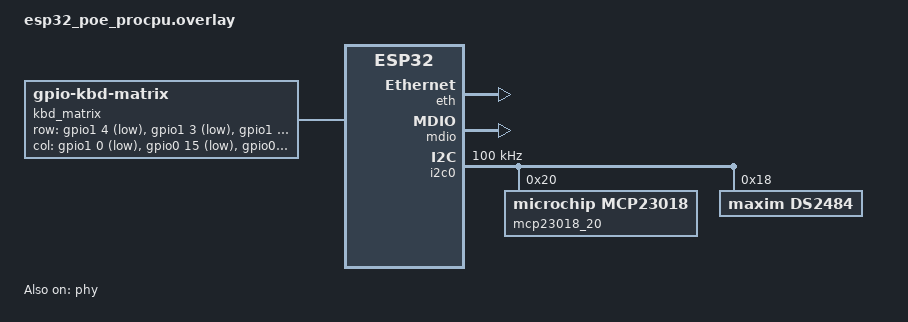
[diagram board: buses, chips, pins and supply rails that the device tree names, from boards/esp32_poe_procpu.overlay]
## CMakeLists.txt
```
# SPDX-License-Identifier: Apache-2.0

cmake_minimum_required(VERSION 3.20.0)

find_package(Zephyr REQUIRED HINTS $ENV{ZEPHYR_BASE})
project(siot)

zephyr_include_directories(
	${CMAKE_CURRENT_SOURCE_DIR}/../common
)

target_sources(app PRIVATE 
	src/main.c 
	src/led.c
	src/w1.c
	${CMAKE_CURRENT_SOURCE_DIR}/../common/html.c
)

set(gen_dir ${ZEPHYR_BINARY_DIR}/include/generated/)
set(source_file_index src/index.html)
generate_inc_file_for_target(app ${source_file_index} ${gen_dir}/index.html.gz.inc --gzip)

zephyr_linker_sources(SECTIONS sections-rom.ld)

zephyr_linker_section_ifdef(CONFIG_NET_SAMPLE_HTTP_SERVICE NAME
				http_resource_desc_test_http_service
				KVMA RAM_REGION GROUP RODATA_REGION
				SUBALIGN Z_LINK_ITERABLE_SUBALIGN)
```

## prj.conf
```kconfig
CONFIG_SHELL=y

CONFIG_NETWORKING=y
CONFIG_NET_L2_ETHERNET=y

CONFIG_NET_IPV6=n
CONFIG_NET_IPV4=y
CONFIG_NET_DHCPV4=y
CONFIG_NET_SOCKETS=y
CONFIG_NET_TCP=y
CONFIG_NET_CONNECTION_MANAGER=y
CONFIG_NET_LOG=y
CONFIG_NET_SHELL=y
CONFIG_NET_CONFIG_SETTINGS=y

CONFIG_DNS_RESOLVER=y
CONFIG_DNS_SERVER_IP_ADDRESSES=y
CONFIG_DNS_SERVER1="8.8.8.8"

# HTTP Server stuff
CONFIG_HTTP_SERVER=y
#CONFIG_HTTP_SERVER_WEBSOCKET=y
CONFIG_HTTP_SERVER_RESOURCE_WILDCARD=y
#CONFIG_NET_HTTP_SERVER_LOG_LEVEL_DBG=y
CONFIG_EVENTFD=y
CONFIG_ZVFS_EVENTFD_MAX=10
CONFIG_EVENTFD_MAX=5
CONFIG_INIT_STACKS=y
CONFIG_ZVFS_OPEN_MAX=32
CONFIG_POSIX_API=y
CONFIG_POSIX_CLOCK=y
CONFIG_POSIX_TIMERS=y
CONFIG_FDTABLE=y
CONFIG_NET_SOCKETS_POLL_MAX=32

CONFIG_HTTP_PARSER_URL=y
CONFIG_HTTP_PARSER=y
CONFIG_HTTP_SERVER=y
CONFIG_HTTP_SERVER_MAX_CLIENTS=10

# Network buffers
CONFIG_NET_PKT_RX_COUNT=16
CONFIG_NET_PKT_TX_COUNT=16
CONFIG_NET_BUF_RX_COUNT=128
CONFIG_NET_BUF_TX_COUNT=128
CONFIG_NET_CONTEXT_NET_PKT_POOL=y

# CONFIG_HTTP_SERVER_MAX_HEADER_LEN=256

# IP address options
CONFIG_NET_IF_UNICAST_IPV6_ADDR_COUNT=3
CONFIG_NET_IF_MCAST_IPV6_ADDR_COUNT=4
CONFIG_NET_MAX_CONTEXTS=32
CONFIG_NET_MAX_CONN=32

CONFIG_LOG=y
CONFIG_LOG_CMDS=y
CONFIG_THREAD_MONITOR=y
CONFIG_THREAD_RUNTIME_STATS=y
CONFIG_SCHED_THREAD_USAGE=y
CONFIG_SCHED_THREAD_USAGE_ANALYSIS=y
CONFIG_SCHED_THREAD_USAGE_ALL=y
CONFIG_SCHED_THREAD_USAGE_AUTO_ENABLE=y

CONFIG_INPUT=y
CONFIG_INPUT_SHELL=y
CONFIG_INPUT_SHELL_KBD_MATRIX_STATE=y
CONFIG_INPUT_EVENT_DUMP=y

# DEBUGGING STUFF
CONFIG_LED=y
CONFIG_LED_SHELL=y

# CONFIG_SNMP_LOG_LEVEL_DBG=y
CONFIG_GPIO=y
CONFIG_GPIO_MCP230XX=y
CONFIG_I2C=y
CONFIG_I2C_SHELL=y
CONFIG_GPIO_SHELL=y
# CONFIG_GPIO_DIRECTION=y
# CONFIG_GPIO_GET_CONFIG=y
CONFIG_GPIO_LOG_LEVEL_DBG=y

CONFIG_W1=y
CONFIG_W1_SHELL=y
CONFIG_W1_DS2484=y
CONFIG_SENSOR=y
CONFIG_SENSOR_SHELL=y
CONFIG_SENSOR_LOG_LEVEL_DBG=y
CONFIG_DS18B20=y

# lib SNMP does not compile yet
# CONFIG_LIB_SNMP=y
```

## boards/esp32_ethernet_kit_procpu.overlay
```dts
/*
 * Copyright (c) 2022 Grant Ramsay <grant.ramsay@hotmail.com>
 *
 * SPDX-License-Identifier: Apache-2.0
 */

&eth {
	status = "okay";
};

&phy {
	status = "okay";
};

&mdio {
	status = "okay";
};

&dac {
    status = "okay";
};
```

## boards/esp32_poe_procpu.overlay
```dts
/*
 * Copyright (c) 2022 Grant Ramsay <grant.ramsay@hotmail.com>
 *
 * SPDX-License-Identifier: Apache-2.0
 */

#include <zephyr/dt-bindings/input/input-event-codes.h>
#include <zephyr/dt-bindings/input/keymap.h>

&eth {
	status = "okay";
};

&phy {
	status = "okay";
};

&mdio {
	status = "okay";
};

&i2c0 {
    status = "okay";
    clock-frequency = <I2C_BITRATE_STANDARD>;

	mcp23018_20: mcp23018@20 {
        compatible = "microchip,mcp23018";
        reg = < 0x20 >;
        gpio-controller;
        ngpios = < 16 >;
        #gpio-cells = < 2 >;
    };

	ds2484: ds2484@18 {
        compatible = "maxim,ds2484";
        reg = <0x18>;
        status = "okay";

		ds18b20 {
			compatible = "maxim,ds18b20";
			family-code = <0x28>;
			resolution = <12>;
			status = "okay";
		};
    };
};

/ {
	kbd_matrix: kbd-matrix {
	    compatible = "gpio-kbd-matrix";
	    row-gpios = <&gpio1 4 (GPIO_ACTIVE_LOW)>,
	                <&gpio1 3 (GPIO_ACTIVE_LOW)>,
	                <&gpio1 2 (GPIO_ACTIVE_LOW)>,
	                <&gpio1 1 (GPIO_PULL_UP | GPIO_ACTIVE_LOW)>;
	    col-gpios = <&gpio1 0 GPIO_ACTIVE_LOW>,
	                <&gpio0 15 GPIO_ACTIVE_LOW>,
	                <&gpio0 14 GPIO_ACTIVE_LOW>,
	                <&gpio0 5 GPIO_ACTIVE_LOW>,
	                <&gpio0 4 GPIO_ACTIVE_LOW>,
	                <&gpio0 0 GPIO_ACTIVE_LOW>;

		col-drive-inactive;
        settle-time-us = <40>;
        no-ghostkey-check;

		keymap:keymap {
		    compatible = "input-keymap";
		    keymap = <
				// MATRIX_KEY(row, col, code)
			    // 0 does not seem to be a valid key code, so we start with 1

				// Industrial #1
	            MATRIX_KEY(0, 0, 1)
	            MATRIX_KEY(1, 0, 2)
	            MATRIX_KEY(2, 0, 3)
	            MATRIX_KEY(3, 0, 4)

				// Industrial #2
				MATRIX_KEY(0, 1, 5)
	            MATRIX_KEY(1, 1, 6)
	            MATRIX_KEY(2, 1, 7)
	            MATRIX_KEY(3, 1, 8)

				// Industrial #3
				MATRIX_KEY(0, 2, 9)
	            MATRIX_KEY(1, 2, 10)
	            MATRIX_KEY(2, 2, 11)
	            MATRIX_KEY(3, 2, 12)

				// Industrial #4
				MATRIX_KEY(0, 3, 13)
	            MATRIX_KEY(1, 3, 14)
	            MATRIX_KEY(2, 3, 15)
	            MATRIX_KEY(3, 3, 16)

				// Industrial #5
	            MATRIX_KEY(0, 4, 17)
	            MATRIX_KEY(1, 4, 18)
	            MATRIX_KEY(2, 4, 19)
	            MATRIX_KEY(3, 4, 20)
				
				// Industrial #6
	            MATRIX_KEY(0, 5, 21)
	            MATRIX_KEY(1, 5, 22)
	            MATRIX_KEY(2, 5, 23)
	            MATRIX_KEY(3, 5, 24)
	        >;
	        row-size = <4>;
	        col-size = <6>;
	    };
	};
};
```

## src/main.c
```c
#include "zephyr/kernel.h"
#include "zephyr/kernel/thread.h"
#include "zephyr/device.h"
#include <zephyr/net/http/server.h>
#include <zephyr/net/http/service.h>
#include <zephyr/logging/log.h>
#include <zephyr/drivers/flash.h>
#include <zephyr/storage/flash_map.h>
#include <zephyr/fs/nvs.h>
#include <zephyr/drivers/gpio.h>
#include <zephyr/net/net_mgmt.h>
#include <zephyr/input/input.h>
#include <sys/types.h>

#include "html.h"
#include "snmp.h"

LOG_MODULE_REGISTER(siot, LOG_LEVEL_DBG);

// ********************************
// NVS Config storage

// NVS Keys
#define NVS_KEY_BOOT_CNT    1
#define NVS_KEY_DEVICE_ID   2
#define NVS_KEY_STATIC_IP   3
#define NVS_KEY_IP_ADDR     4
#define NVS_KEY_GATEWAY     5
#define NVS_KEY_SUBNET_MASK 6

static struct nvs_fs fs;

#define NVS_PARTITION        storage_partition
#define NVS_PARTITION_DEVICE FIXED_PARTITION_DEVICE(NVS_PARTITION)
#define NVS_PARTITION_OFFSET FIXED_PARTITION_OFFSET(NVS_PARTITION)

void nvs_dump_settings()
{
	char buf[32];

	int rc = nvs_read(&fs, NVS_KEY_DEVICE_ID, &buf, sizeof(buf));
	if (rc > 0) {
		LOG_INF("Device ID: %s", buf);
	}

	nvs_read(&fs, NVS_KEY_STATIC_IP, &buf, sizeof(buf));
	if (rc > 0) {
		LOG_INF("Static IP: %s", buf);
	}

	nvs_read(&fs, NVS_KEY_IP_ADDR, &buf, sizeof(buf));
	if (rc > 0) {
		LOG_INF("IP Address: %s", buf);
	}

	nvs_read(&fs, NVS_KEY_SUBNET_MASK, &buf, sizeof(buf));
	if (rc > 0) {
		LOG_INF("Subnet mask: %s", buf);
	}

	nvs_read(&fs, NVS_KEY_GATEWAY, &buf, sizeof(buf));
	if (rc > 0) {
		LOG_INF("Gateway: %s", buf);
	}
}
int nvs_init()
{
	struct flash_pages_info info;
	int rc = 0;
	uint32_t reboot_counter = 0U;

	/* define the nvs file system by settings with:
	 *	sector_size equal to the pagesize,
	 *	3 sectors
	 *	starting at NVS_PARTITION_OFFSET
	 */
	fs.flash_device = NVS_PARTITION_DEVICE;
	if (!device_is_ready(fs.flash_device)) {
		LOG_ERR("Flash device %s is not ready\n", fs.flash_device->name);
		return -1;
	}
	fs.offset = NVS_PARTITION_OFFSET;
	rc = flash_get_page_info_by_offs(fs.flash_device, fs.offset, &info);
	if (rc) {
		LOG_ERR("Unable to get page info\n");
		return -1;
	}
	fs.sector_size = info.size;
	fs.sector_count = 3U;

	rc = nvs_mount(&fs);
	if (rc) {
		LOG_ERR("Flash Init failed\n");
		return -1;
	}

	rc = nvs_read(&fs, NVS_KEY_BOOT_CNT, &reboot_counter, sizeof(reboot_counter));
	if (rc > 0) { /* item was found, show it */
		LOG_INF("Boot count: %d\n", reboot_counter);
		reboot_counter++;
		(void)nvs_write(&fs, NVS_KEY_BOOT_CNT, &reboot_counter, sizeof(reboot_counter));
	} else { /* item was not found, add it */
		LOG_INF("No boot counter found, adding it at id %d\n", NVS_KEY_BOOT_CNT);
		(void)nvs_write(&fs, NVS_KEY_BOOT_CNT, &reboot_counter, sizeof(reboot_counter));
	}

	nvs_dump_settings();

	return 0;
}

// ==================================================
// Industrial states
// FIXME this should be local data in the main loop eventually
// need to figure out how to process a HTTP callback in the event loop

typedef struct {
	bool aon;
	bool bon;
	bool ona;
	bool onb;
} industrial;

industrial ind_state[6];

#define AON 0
#define ONA 1
#define BON 2
#define ONB 3

#define ARRAY_LENGTH(x) (sizeof(x) / sizeof((x)[0]))

// ==================================================
// HTTP Service

static uint8_t recv_buffer[1024];

static uint16_t http_service_port = 80;
HTTP_SERVICE_DEFINE(siot_http_service, "0.0.0.0", &http_service_port, 1, 10, NULL);

static uint8_t index_html_gz[] = {
#include "index.html.gz.inc"
};

// ==================================================
// index.html resource

struct http_resource_detail_static index_html_gz_resource_detail = {
	.common =
		{
			.type = HTTP_RESOURCE_TYPE_STATIC,
			.bitmask_of_supported_http_methods = BIT(HTTP_GET),
			.content_encoding = "gzip",
			.content_type = "text/html",
		},
	.static_data = index_html_gz,
	.static_data_len = sizeof(index_html_gz),
};

HTTP_RESOURCE_DEFINE(index_html_gz_resource, siot_http_service, "/",
		     &index_html_gz_resource_detail);

// ********************************
// boot count handler

static int bootcount_handler(struct http_client_ctx *client, enum http_data_status status,
			     uint8_t *buffer, size_t len, struct http_response_ctx *resp,
			     void *user_data)
{
	uint32_t reboot_counter = 0U;

	if (status != HTTP_SERVER_DATA_FINAL) {
		return 0;
	}

	int rc = nvs_read(&fs, NVS_KEY_BOOT_CNT, &reboot_counter, sizeof(reboot_counter));
	if (rc > 0) { /* item was found, show it */
		sprintf(recv_buffer, "%i", reboot_counter);
	} else {
		strcpy(recv_buffer, "error");
	}

	resp->body = recv_buffer;
	resp->body_len = strlen(recv_buffer);
	resp->final_chunk = true;

	return 0;
}

struct http_resource_detail_dynamic bootcount_resource_detail = {
	.common =
		{
			.type = HTTP_RESOURCE_TYPE_DYNAMIC,
			.bitmask_of_supported_http_methods = BIT(HTTP_GET),
		},
	.cb = bootcount_handler,
	.user_data = NULL,
};

HTTP_RESOURCE_DEFINE(bootcount_resource, siot_http_service, "/bootcount",
		     &bootcount_resource_detail);

// ********************************
// CPU usage handler

static int cpu_usage_handler(struct http_client_ctx *client, enum http_data_status status,
			     uint8_t *buffer, size_t len, struct http_response_ctx *resp,
			     void *user_data)
{
	if (status != HTTP_SERVER_DATA_FINAL) {
		return 0;
	}

	k_thread_runtime_stats_t stats;
	int rc = k_thread_runtime_stats_all_get(&stats);

	if (rc == 0) { /* item was found, show it */
		sprintf(recv_buffer, "%0.2lf%%",
			((double)stats.total_cycles) * 100 / stats.execution_cycles);
	} else {
		strcpy(recv_buffer, "error");
	}

	resp->body = recv_buffer;
	resp->body_len = strlen(recv_buffer);
	resp->final_chunk = true;

	return 0;
}

struct http_resource_detail_dynamic cpu_usage_resource_detail = {
	.common =
		{
			.type = HTTP_RESOURCE_TYPE_DYNAMIC,
			.bitmask_of_supported_http_methods = BIT(HTTP_GET),
		},
	.cb = cpu_usage_handler,
	.user_data = NULL,
};

HTTP_RESOURCE_DEFINE(cpu_usage_resource, siot_http_service, "/cpu-usage",
		     &cpu_usage_resource_detail);

// ********************************
// Board handler

static int board_handler(struct http_client_ctx *client, enum http_data_status status,
			 uint8_t *buffer, size_t len, struct http_response_ctx *resp,
			 void *user_data)
{
	if (status != HTTP_SERVER_DATA_FINAL) {
		return 0;
	}
	sprintf(recv_buffer, "%s", CONFIG_BOARD_TARGET);

	resp->body = recv_buffer;
	resp->body_len = strlen(recv_buffer);
	resp->final_chunk = true;

	return 0;
}

struct http_resource_detail_dynamic board_resource_detail = {
	.common =
		{
			.type = HTTP_RESOURCE_TYPE_DYNAMIC,
			.bitmask_of_supported_http_methods = BIT(HTTP_GET),
		},
	.cb = board_handler,
	.user_data = NULL,
};

HTTP_RESOURCE_DEFINE(board_resource, siot_http_service, "/board", &board_resource_detail);

// ********************************
// DID handler

static int did_handler(struct http_client_ctx *client, enum http_data_status status,
		       uint8_t *buffer, size_t len, struct http_response_ctx *resp, void *user_data)
{

	if (status != HTTP_SERVER_DATA_FINAL) {
		return 0;
	}

	int rc = nvs_read(&fs, NVS_KEY_DEVICE_ID, &recv_buffer, sizeof(recv_buffer));
	if (rc > 0) {
		recv_buffer[rc] = 0;
	} else {
		recv_buffer[0] = 0;
	}

	resp->body = recv_buffer;
	resp->body_len = strlen(recv_buffer);
	resp->final_chunk = true;

	return 0;
}

struct http_resource_detail_dynamic did_resource_detail = {
	.common =
		{
			.type = HTTP_RESOURCE_TYPE_DYNAMIC,
			.bitmask_of_supported_http_methods = BIT(HTTP_GET),
		},
	.cb = did_handler,
	.user_data = NULL,
};

HTTP_RESOURCE_DEFINE(did_resource, siot_http_service, "/did", &did_resource_detail);

// ********************************
// ipstatic handler

static int ipstatic_handler(struct http_client_ctx *client, enum http_data_status status,
			    uint8_t *buffer, size_t len, struct http_response_ctx *resp,
			    void *user_data)
{

	if (status != HTTP_SERVER_DATA_FINAL) {
		return 0;
	}

	int rc = nvs_read(&fs, NVS_KEY_STATIC_IP, &recv_buffer, sizeof(recv_buffer));
	if (rc > 0) {
		recv_buffer[rc] = 0;
	} else {
		recv_buffer[0] = 0;
	}

	resp->body = recv_buffer;
	resp->body_len = strlen(recv_buffer);
	resp->final_chunk = true;

	return 0;
}

struct http_resource_detail_dynamic ipstatic_resource_detail = {
	.common =
		{
			.type = HTTP_RESOURCE_TYPE_DYNAMIC,
			.bitmask_of_supported_http_methods = BIT(HTTP_GET),
		},
	.cb = ipstatic_handler,
	.user_data = NULL,
};

HTTP_RESOURCE_DEFINE(ipstatic_resource, siot_http_service, "/ipstatic", &ipstatic_resource_detail);

// ********************************
// ipaddr handler

static int ipaddr_handler(struct http_client_ctx *client, enum http_data_status status,
			  uint8_t *buffer, size_t len, struct http_response_ctx *resp,
			  void *user_data)
{
	if (status != HTTP_SERVER_DATA_FINAL) {
		return 0;
	}

	int rc = nvs_read(&fs, NVS_KEY_IP_ADDR, &recv_buffer, sizeof(recv_buffer));
	if (rc > 0) {
		recv_buffer[rc] = 0;
	} else {
		recv_buffer[0] = 0;
	}

	resp->body = recv_buffer;
	resp->body_len = strlen(recv_buffer);
	resp->final_chunk = true;

	return 0;
}

struct http_resource_detail_dynamic ipaddr_resource_detail = {
	.common =
		{
			.type = HTTP_RESOURCE_TYPE_DYNAMIC,
			.bitmask_of_supported_http_methods = BIT(HTTP_GET),
		},
	.cb = ipaddr_handler,
	.user_data = NULL,
};

HTTP_RESOURCE_DEFINE(ipaddr_resource, siot_http_service, "/ipaddr", &ipaddr_resource_detail);

// ********************************
// subnet-mask handler

static int subnet_mask_handler(struct http_client_ctx *client, enum http_data_status status,
			       uint8_t *buffer, size_t len, struct http_response_ctx *resp,
			       void *user_data)
{
	if (status != HTTP_SERVER_DATA_FINAL) {
		return 0;
	}

	int rc = nvs_read(&fs, NVS_KEY_SUBNET_MASK, &recv_buffer, sizeof(recv_buffer));
	if (rc > 0) {
		recv_buffer[rc] = 0;
	} else {
		recv_buffer[0] = 0;
	}

	resp->body = recv_buffer;
	resp->body_len = strlen(recv_buffer);
	resp->final_chunk = true;

	return 0;
}

struct http_resource_detail_dynamic subnet_mask_resource_detail = {
	.common =
		{
			.type = HTTP_RESOURCE_TYPE_DYNAMIC,
			.bitmask_of_supported_http_methods = BIT(HTTP_GET),
		},
	.cb = subnet_mask_handler,
	.user_data = NULL,
};

HTTP_RESOURCE_DEFINE(subnet_mask_resource, siot_http_service, "/subnet-mask",
		     &subnet_mask_resource_detail);

// ********************************
// gateway handler

static int gateway_handler(struct http_client_ctx *client, enum http_data_status status,
			   uint8_t *buffer, size_t len, struct http_response_ctx *resp,
			   void *user_data)
{

	int rc = nvs_read(&fs, NVS_KEY_GATEWAY, &recv_buffer, sizeof(recv_buffer));
	if (rc > 0) {
		recv_buffer[rc] = 0;
	} else {
		recv_buffer[0] = 0;
	}

	resp->body = recv_buffer;
	resp->body_len = strlen(recv_buffer);
	resp->final_chunk = true;

	return 0;
}

struct http_resource_detail_dynamic gateway_resource_detail = {
	.common =
		{
			.type = HTTP_RESOURCE_TYPE_DYNAMIC,
			.bitmask_of_supported_http_methods = BIT(HTTP_GET),
		},
	.cb = gateway_handler,
	.user_data = NULL,
};

HTTP_RESOURCE_DEFINE(gateway_resource, siot_http_service, "/gateway", &gateway_resource_detail);

// ********************************
// settings post handler

void settings_callback(char *key, char *value)
{
	// LOG_DBG("setting: %s:%s", key, value);

	uint16_t nvs_id;

	if (strcmp(key, "did") == 0) {
		nvs_id = NVS_KEY_DEVICE_ID;
	} else if (strcmp(key, "ipstatic") == 0) {
		nvs_id = NVS_KEY_STATIC_IP;
	} else if (strcmp(key, "ipaddr") == 0) {
		nvs_id = NVS_KEY_IP_ADDR;
	} else if (strcmp(key, "subnet-mask") == 0) {
		nvs_id = NVS_KEY_SUBNET_MASK;
	} else if (strcmp(key, "gateway") == 0) {
		nvs_id = NVS_KEY_GATEWAY;
	} else {
		LOG_ERR("Unhandled setting: %s", key);
		return;
	}

	ssize_t cnt = nvs_write(&fs, nvs_id, value, strlen(value) + 1);
	// 0 indicates value is already written and nothing to do
	if (cnt != 0 && (cnt < 0 || cnt != strlen(value) + 1)) {
		LOG_ERR("Error writing setting: %s, len: %zu, written: %zu", key, strlen(value) + 1,
			cnt);

		return;
	}
}

static int settings_handler(struct http_client_ctx *client, enum http_data_status status,
			    uint8_t *buffer, size_t len, struct http_response_ctx *resp,
			    void *user_data)
{
	if (status == HTTP_SERVER_DATA_ABORTED) {
		return 0;
	}

	static uint8_t settings_buffer[256];
	static size_t cursor;

	if (len + cursor > sizeof(settings_buffer)) {
		cursor = 0;
		return -ENOMEM;
	}

	memcpy(settings_buffer + cursor, buffer, len);
	cursor += len;

	if (status == HTTP_SERVER_DATA_FINAL) {
		if (cursor >= sizeof(settings_buffer)) {
			cursor = 0;
			return -ENOMEM;
		}

		// make sure data is null terminated
		settings_buffer[cursor] = 0;

		// LOG_HEXDUMP_DBG(settings_buffer, cursor, "settings data");
		cursor = 0;

		html_parse_form_data(settings_buffer, settings_callback);

		LOG_INF("Settings updated");

		nvs_dump_settings();

		strcpy(recv_buffer, "Settings saved");

		resp->body = recv_buffer;
		resp->body_len = strlen(recv_buffer);
		resp->final_chunk = true;
	}

	return 0;
}

static struct http_resource_detail_dynamic settings_post_resource_detail = {
	.common =
		{
			.type = HTTP_RESOURCE_TYPE_DYNAMIC,
			.bitmask_of_supported_http_methods = BIT(HTTP_POST),
		},
	.cb = settings_handler,
	.user_data = NULL,
};

HTTP_RESOURCE_DEFINE(settings_post_resource, siot_http_service, "/settings",
		     &settings_post_resource_detail);

// ==================================================
// /devices resource

static uint8_t recv_buffer[1024];

char *on = "<span class=\"on\"></span>";
char *off = "<span class=\"off\"></span>";

#define RENDER_ON_OFF(state) state ? on : off

static int devices_handler(struct http_client_ctx *client, enum http_data_status status,
			   uint8_t *buffer, size_t len, struct http_response_ctx *resp,
			   void *user_data)
{

	if (status == HTTP_SERVER_DATA_FINAL) {
		char *end = recv_buffer;

		end += sprintf(end, "<ul>");
		for (int i = 0; i < ARRAY_LENGTH(ind_state); i++) {
			end += sprintf(
				end, "<li><b>#%i</b>: AON:%s ONA:%s BON:%s ONB:%s</li>", i,
				RENDER_ON_OFF(ind_state[i].aon), RENDER_ON_OFF(ind_state[i].ona),
				RENDER_ON_OFF(ind_state[i].bon), RENDER_ON_OFF(ind_state[i].onb));
		}
		end += sprintf(end, "</ul>");

		resp->body = recv_buffer;
		resp->body_len = strlen(recv_buffer);
		resp->final_chunk = true;
	}

	return 0;
}

struct http_resource_detail_dynamic devices_resource_detail = {
	.common =
		{
			.type = HTTP_RESOURCE_TYPE_DYNAMIC,
			.bitmask_of_supported_http_methods = BIT(HTTP_GET) | BIT(HTTP_POST),
		},
	.cb = devices_handler,
	.user_data = NULL,
};

HTTP_RESOURCE_DEFINE(devices_resource, siot_http_service, "/devices", &devices_resource_detail);

// ==================================================
// Key event handler, and message queue for passing DC events to main loop
K_MSGQ_DEFINE(dc_msgq, sizeof(struct input_event), 10, 4);

static void keymap_callback(struct input_event *evt, void *user_data)
{
	// Handle the input event
	if (evt->type == INPUT_EV_KEY) {
		k_msgq_put(&dc_msgq, evt, K_MSEC(50));
	}
}

static const struct device *const keymap_dev = DEVICE_DT_GET(DT_NODELABEL(keymap));

INPUT_CALLBACK_DEFINE(keymap_dev, keymap_callback, NULL);

// ==================================================
// Network manager

static struct net_mgmt_event_callback mgmt_cb;

static void net_event_handler(struct net_mgmt_event_callback *cb, uint32_t mgmt_event,
			      struct net_if *iface)
{
	if (mgmt_event == NET_EVENT_L4_CONNECTED) {
		LOG_INF("Network connected\n");

		// FIXME: send test
		int ret = snmp_trap("10.0.0.100", "hello", sizeof("hello"));
		if (ret != 0) {
			LOG_ERR("Error sending SNMP message: %i", ret);
		}
	}
}

int main(void)
{
	LOG_INF("Zonit Industrial Monitoring Application! %s", CONFIG_BOARD_TARGET);

	// In your initialization code:
	net_mgmt_init_event_callback(&mgmt_cb, net_event_handler, NET_EVENT_L4_CONNECTED);
	net_mgmt_add_event_callback(&mgmt_cb);

	nvs_init();

	http_server_start();

	struct input_event evt;

	static const char MSG_AON[] = "AON";
	static const char MSG_ONA[] = "ONA";
	static const char MSG_BON[] = "BON";
	static const char MSG_ONB[] = "ONB";

	while (1) {
		if (k_msgq_get(&dc_msgq, &evt, K_FOREVER) == 0) {
			// Process the input event
			int code_z = evt.code - 1;
			int industrial = code_z / 4;
			int ind_event = code_z % 4;

			const char *msg = "unknown";

			switch (ind_event) {
			case AON:
				msg = MSG_AON;
				ind_state[industrial].aon = evt.value;
				break;

			case ONA:
				msg = MSG_ONA;
				ind_state[industrial].ona = evt.value;
				break;

			case BON:
				msg = MSG_BON;
				ind_state[industrial].bon = evt.value;
				break;

			case ONB:
				msg = MSG_ONB;
				ind_state[industrial].onb = evt.value;
				break;
			}

			LOG_DBG("Industrial #%i: %s: %i", industrial + 1, msg, evt.value);
		}
	}
}

int toggle_pin(int pin)
{
	const struct device *gpio0_dev = DEVICE_DT_GET(DT_NODELABEL(gpio0));
	if (!device_is_ready(gpio0_dev)) {
		LOG_ERR("gpio0 not ready");
	}

	int ret = gpio_pin_configure(gpio0_dev, pin, GPIO_OUTPUT_ACTIVE);
	if (ret < 0) {
		printk("Error %d: failed to configure GPIO\n", ret);
		return 0;
	}

	LOG_DBG("Toggle pin %d", pin);
	while (true) {
		// Set the pin high
		gpio_pin_toggle(gpio0_dev, pin);
		k_msleep(500);
	}
}
```

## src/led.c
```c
#include <zephyr/kernel.h>
#include <zephyr/logging/log.h>
#include <zephyr/drivers/i2c.h>
#include <zephyr/drivers/gpio.h>

#define STACKSIZE 1024
#define PRIORITY  7

#define LED_STATUS (6 + 8)

LOG_MODULE_REGISTER(z_led, LOG_LEVEL_DBG);

#define I2C0_NODE DT_NODELABEL(mcp23018_20)
static const struct i2c_dt_spec gpioExpander = I2C_DT_SPEC_GET(I2C0_NODE);

const struct device *i2c_dev = DEVICE_DT_GET(DT_NODELABEL(i2c0));

void z_led_setup(const struct device *mcp_device)
{
	for (int i = 0; i < 6; i++) {
		int ret = gpio_pin_configure(mcp_device, i,
					     GPIO_OUTPUT | GPIO_OPEN_DRAIN | GPIO_ACTIVE_LOW);
		if (ret < 0) {
			LOG_ERR("Failed to configure GPIO pin %i: %d", i, ret);
		}

		ret = gpio_pin_set(mcp_device, i, 0);
		if (ret != 0) {
			LOG_ERR("ERROR writing to LED GPIO: %i", ret);
		}

		ret = gpio_pin_configure(mcp_device, i + 8,
					 GPIO_OUTPUT | GPIO_OPEN_DRAIN | GPIO_ACTIVE_LOW);
		if (ret < 0) {
			LOG_ERR("Failed to configure GPIO pin %i: %d", i + 8, ret);
		}

		ret = gpio_pin_set(mcp_device, i + 8, 0);
		if (ret != 0) {
			LOG_ERR("ERROR writing to LED GPIO: %i", ret);
		}
	}

	int ret = gpio_pin_configure(mcp_device, LED_STATUS,
				     GPIO_OUTPUT | GPIO_OPEN_DRAIN | GPIO_ACTIVE_LOW);
	if (ret < 0) {
		LOG_ERR("Failed to configure GPIO pin %i: %d", LED_STATUS, ret);
	}

	gpio_pin_set(mcp_device, LED_STATUS, 0);
}

// LED num starts at 1
void z_led_set(const struct device *mcp_device, bool is_b, int num, bool on)
{
	int i = num - 1;
	if (i < 0 || i > 5) {
		LOG_ERR("Invalid LED number %i, only 6 channels", num);
		return;
	}

	if (is_b) {
		i += 8;
	}

	int ret = gpio_pin_set(mcp_device, i, on);
	if (ret < 0) {
		LOG_ERR("Failed to configure GPIO pin %i: %d", i + 8, ret);
	}
}

void z_leds_thread(void *arg1, void *arg2, void *arg3)
{
	LOG_INF("z leds thread");

	if (!device_is_ready(i2c_dev)) {
		LOG_ERR("I2C bus %s is not ready!", i2c_dev->name);
		return;
	}

	if (!device_is_ready(gpioExpander.bus)) {
		LOG_ERR("I2C bus %s is not ready!", gpioExpander.bus->name);
	} else {
		LOG_INF("I2C bus %s is ready", gpioExpander.bus->name);
	}

	const struct device *mcp_device = DEVICE_DT_GET(DT_NODELABEL(mcp23018_20));

	if (!device_is_ready(mcp_device)) {
		LOG_ERR("MCP23018 device not ready");
	}

	z_led_setup(mcp_device);

	int cur = 1;

	// display pattern on LEDs
	while (1) {
		k_msleep(200);
		gpio_pin_toggle(mcp_device, LED_STATUS);

		// turn current led off
		z_led_set(mcp_device, false, cur, false);
		z_led_set(mcp_device, true, cur, false);

		gpio_pin_set(mcp_device, cur, 0);
		gpio_pin_set(mcp_device, cur + 8, 0);
		cur += 1;
		if (cur > 6) {
			cur = 1;
		}
		// turn next LED on
		z_led_set(mcp_device, false, cur, true);
		z_led_set(mcp_device, true, cur, true);
	}
}

K_THREAD_DEFINE(z_led, STACKSIZE, z_leds_thread, NULL, NULL, NULL, PRIORITY, K_ESSENTIAL, 0);
```
